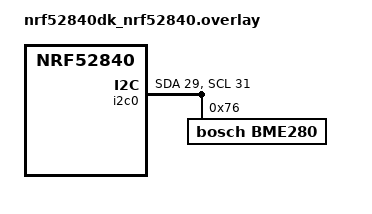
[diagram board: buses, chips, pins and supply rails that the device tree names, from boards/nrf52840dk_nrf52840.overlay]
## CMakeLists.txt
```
# Boilerplate code, which pulls in the Zephyr build system.
cmake_minimum_required(VERSION 3.13.1)
include($ENV{ZEPHYR_BASE}/cmake/app/boilerplate.cmake NO_POLICY_SCOPE)
project(my_zephyr_app)

# Add your source file to the "app" target. This must come after
# the boilerplate code, which defines the target.
target_sources(app PRIVATE src/main.c src/led.c src/button.c src/ble.c)
```

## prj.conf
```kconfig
CONFIG_GPIO=y
CONFIG_SOC_SERIES_NRF52X=y

CONFIG_BT=y
CONFIG_BT_PERIPHERAL=y
CONFIG_BT_GATT_DYNAMIC_DB=y
CONFIG_ENTROPY_NRF5_THR_THRESHOLD=4
CONFIG_ENTROPY_NRF5_ISR_THRESHOLD=12

# CONFIG_CONSOLE=n
# CONFIG_UART_CONSOLE=n
# CONFIG_SERIAL=n
CONFIG_LOG=y

CONFIG_I2C=y
CONFIG_SENSOR=y
CONFIG_BME280=y
CONFIG_BME280_MODE_FORCED=y
```

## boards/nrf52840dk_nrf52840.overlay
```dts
&i2c0 {
    compatible = "nordic,nrf-twi";
    status = "okay";
    sda-pin = <29>;
    scl-pin = <31>;

    bme280@76 {
        compatible = "bosch,bme280";
        reg = <0x76>;
        label = "BME280";
    };
};
```

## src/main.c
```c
#include <zephyr.h>
#include <device.h>
#include <drivers/gpio.h>
#include <sys/printk.h>
#include <logging/log.h>

#include "led.h"
#include "button.h"
#include "ble.h"

#include <devicetree.h>
#include <drivers/sensor.h>

#define BME280 DT_INST(0, bosch_bme280)

#if DT_HAS_NODE(BME280)
#define BME280_LABEL DT_LABEL(BME280)
#else
#error Your devicetree has no enabled nodes with compatible "bosch,bme280"
#define BME280_LABEL "<none>"
#endif

LOG_MODULE_REGISTER(main);

void main(void) {
  LOG_INF("starting...");

  struct device *dev = device_get_binding(BME280_LABEL);
  if (dev == NULL) {
    LOG_ERR("could not find BME280 device");
    return;
  }

  ble_init();

  while (1) {
    struct sensor_value value;
    sensor_sample_fetch(dev);
    sensor_channel_get(dev, SENSOR_CHAN_AMBIENT_TEMP, &value);

    // value.val1 -> integer part
    // value.val2 -> fractional part (* 10e-6)
    // degrees_c = value.val1 + value.val2 * 10^(-6)

    // temp = degrees * 100
    s16_t temp = (value.val1 * 100) + (value.val2 / 10000);
    LOG_INF("temp: %d", temp);

    ble_notify((u8_t *) &temp, 2); // s16_t -> 2 bytes

    k_sleep(K_MSEC(5000));
  }
}
```

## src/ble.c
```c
#include <zephyr/types.h>
#include <stddef.h>
#include <string.h>
#include <errno.h>
#include <sys/printk.h>
#include <sys/byteorder.h>
#include <sys/types.h>
#include <logging/log.h>
#include <zephyr.h>

#include <bluetooth/bluetooth.h>
#include <bluetooth/hci.h>
#include <bluetooth/conn.h>
#include <bluetooth/uuid.h>
#include <bluetooth/gatt.h>

#include "ble.h"

LOG_MODULE_REGISTER(ble);

static u8_t val = 0;

// 8D9D7800-5B61-412A-AB71-5C7E0E559086
static struct bt_uuid_128 uuid_service = BT_UUID_INIT_128(
  0x86, 0x90, 0x55, 0x0E, 0x7E, 0x5C, 0x71, 0xAB,
  0x2A, 0x41, 0x61, 0x5B, 0x00, 0x78, 0x9D, 0x8D);

// 8D9D7801-5B61-412A-AB71-5C7E0E559086
static struct bt_uuid_128 uuid_characteristic = BT_UUID_INIT_128(
  0x86, 0x90, 0x55, 0x0E, 0x7E, 0x5C, 0x71, 0xAB,
  0x2A, 0x41, 0x61, 0x5B, 0x01, 0x78, 0x9D, 0x8D);

static ssize_t ble_read_value(struct bt_conn *conn, const struct bt_gatt_attr *attr, void *buf, u16_t len, u16_t offset) {
  const uint8_t *value = attr->user_data;
  return bt_gatt_attr_read(conn, attr, buf, len, offset, value, sizeof(*value));
}

static void ble_ccc_cfg_changed(const struct bt_gatt_attr *attr, u16_t value) {
  ARG_UNUSED(attr);

  bool notif_enabled = (value == BT_GATT_CCC_NOTIFY);
  LOG_INF("notifications: %s", notif_enabled ? "enabled" : "disabled");
}

BT_GATT_SERVICE_DEFINE(ble_gatt_service,
  BT_GATT_PRIMARY_SERVICE(&uuid_service),

  BT_GATT_CHARACTERISTIC(
    &uuid_characteristic.uuid,
    BT_GATT_CHRC_READ | BT_GATT_CHRC_NOTIFY,
    BT_GATT_PERM_READ,
    ble_read_value,
    NULL,
    &val),

  BT_GATT_CCC(ble_ccc_cfg_changed, BT_GATT_PERM_READ | BT_GATT_PERM_WRITE),
);

// advertisement data
static const struct bt_data ad[] = {
  BT_DATA_BYTES(BT_DATA_FLAGS, (BT_LE_AD_GENERAL | BT_LE_AD_NO_BREDR))
};

// scan response data
static const struct bt_data sd[] = {
  BT_DATA(BT_DATA_NAME_COMPLETE, CONFIG_BT_DEVICE_NAME, (sizeof(CONFIG_BT_DEVICE_NAME) - 1)),
};

static void ble_connected(struct bt_conn *conn, u8_t err) {
  if (err) {
    LOG_ERR("connection failed: %u", err);
  } else {
    LOG_INF("connected");
  }
}

static void ble_disconnected(struct bt_conn *conn, u8_t reason) {
  LOG_INF("disconnected: %u", reason);
}

static struct bt_conn_cb conn_callbacks = {
  .connected = ble_connected,
  .disconnected = ble_disconnected,
};

void ble_ready(int err) {
  if (err) {
    LOG_ERR("enable failed: %d", err);
    return;
  }

  LOG_INF("ready");

  err = bt_le_adv_start(BT_LE_ADV_CONN, ad, ARRAY_SIZE(ad), sd, ARRAY_SIZE(sd));
  if (err) {
    LOG_ERR("advertising error: %d", err);
    return;
  }

  LOG_INF("advertising started");
}

void ble_init(void) {
  int err = bt_enable(ble_ready);
  if (err) {
    LOG_ERR("failed to enable: %d)", err);
    return;
  }

  bt_conn_cb_register(&conn_callbacks);
}

void ble_notify(uint8_t *data, int length) {
  bt_gatt_notify(NULL, &ble_gatt_service.attrs[1], data, length);
}
```

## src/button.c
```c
#include "button.h"

int button_init(button_t *button) {
  int ret;

  struct device *dev = device_get_binding(button->dev_name);
  if (dev == NULL) {
    return -1;
  }

  button->dev = dev;

  ret = gpio_pin_configure(button->dev,
                           button->pin,
                           GPIO_INPUT | button->flags);
  if (ret < 0) {
    return -1;
  }

  if (button->callback_handler != NULL) {
    ret = gpio_pin_interrupt_configure(button->dev,
                                       button->pin,
                                       GPIO_INT_EDGE_TO_ACTIVE | GPIO_INT_DEBOUNCE);
    if (ret < 0) {
      return -1;
    }

    gpio_init_callback(&button->callback,
                       button->callback_handler,
                       BIT(button->pin));

    gpio_add_callback(button->dev, &button->callback);
  }

  return 0;
}
```

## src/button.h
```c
#ifndef __BUTTON_H__
#define __BUTTON_H__

#include <drivers/gpio.h>

typedef struct {
  const char *dev_name;
  gpio_pin_t pin;
  gpio_flags_t flags;
  gpio_callback_handler_t callback_handler;
  struct gpio_callback callback;
  struct device *dev;
} button_t;

int button_init(button_t *button);

#endif
```

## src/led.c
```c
#include <drivers/gpio.h>

#include "led.h"

int led_init(led_t *led) {
  struct device *dev = device_get_binding(led->dev_name);
  if (dev == NULL) {
    return -1;
  }

  led->dev = dev;

  int ret = gpio_pin_configure(led->dev, led->pin, GPIO_OUTPUT_ACTIVE);
  if (ret < 0) {
    return -1;
  }

  return 0;
}

void led_set(led_t *led, int value) {
  gpio_pin_set(led->dev, led->pin, value);
}

void led_blink(led_t *led) {
  while (1) {
    led_set(led, 1);
    k_sleep(K_MSEC(100));
    led_set(led, 0);
    k_sleep(K_MSEC(100));
  }
}
```

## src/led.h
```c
#ifndef __LED_H__
#define __LED_H__

#include <drivers/gpio.h>

typedef struct {
  const char *dev_name;
  gpio_pin_t pin;
  struct device *dev;
} led_t;

int led_init(led_t *led);
void led_set(led_t *led, int value);
void led_blink(led_t *led);

#endif
```
